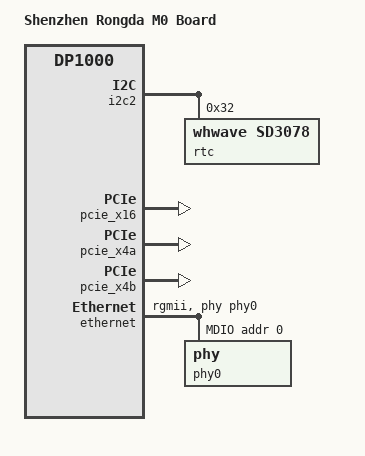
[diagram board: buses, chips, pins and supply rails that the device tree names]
// SPDX-License-Identifier: GPL-2.0
/*
 * Copyright(C) 2026 UltraRISC Technology (Shanghai) Co., Ltd.
 */

#include "dp1000-shenrongda-m0-pinctrl.dtsi"
#include <dt-bindings/gpio/gpio.h>

/ {
	model = "Shenzhen Rongda M0 Board";
	compatible = "shenrongda,m0", "ultrarisc,dp1000";

	aliases {
		serial0 = &uart0;
		serial1 = &uart1;
		serial2 = &uart2;
		serial3 = &uart3;
	};

	chosen {
		stdout-path = "serial0:115200n8";
	};
};

&i2c0 {
	pinctrl-names = "default";
	pinctrl-0 = <&i2c0_pins>;
};

&i2c1 {
	pinctrl-names = "default";
	pinctrl-0 = <&i2c1_pins>;
};

&i2c2 {
	pinctrl-names = "default";
	pinctrl-0 = <&i2c2_pins>;

	rtc@32 {
		compatible = "whwave,sd3078";
		reg = <0x32>;
	};
};

&i2c3 {
	pinctrl-names = "default";
	pinctrl-0 = <&i2c3_pins>;
};

&spi0 {
	pinctrl-names = "default";
	pinctrl-0 = <&spi0_pins>;
};

&spi1 {
	num-cs = <1>;

	pinctrl-names = "default";
	pinctrl-0 = <&spi1_pins>;
};

&uart0 {
	pinctrl-names = "default";
	pinctrl-0 = <&uart0_pins>;
};

&uart1 {
	pinctrl-names = "default";
	pinctrl-0 = <&uart1_pins>;
};

&uart2 {
	pinctrl-names = "default";
	pinctrl-0 = <&uart2_pins>;
};

&uart3 {
	pinctrl-names = "default";
	pinctrl-0 = <&uart3_pins>;
};

&pcie_x16 {
	status = "okay";
};

&pcie_x4a {
	status = "okay";
};

&pcie_x4b {
	status = "okay";
};

&ethernet {
	phy-handle = <&phy0>;
	/*
	 * YT8531 RGMII timing on this board requires no PHY internal delays.
	 * Using "rgmii-id" together with rx/tx-internal-delay-ps results in RX CRC
	 * errors and no usable traffic, so keep plain "rgmii" here.
	 */
	phy-mode = "rgmii";

	status = "okay";

	mdio {
		compatible = "snps,dwmac-mdio";
		#address-cells = <1>;
		#size-cells = <0>;

		phy0: phy@0 {
			reg = <0>;
		};
	};
};
